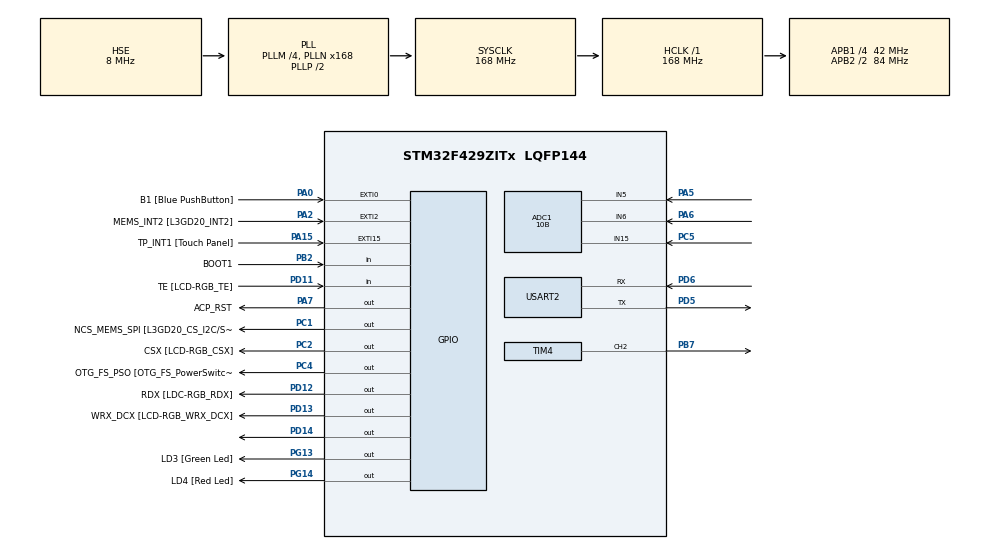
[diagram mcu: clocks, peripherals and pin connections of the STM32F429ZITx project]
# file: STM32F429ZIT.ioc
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ADC1.Channel-0\#ChannelRegularConversion=ADC_CHANNEL_15
ADC1.Channel-1\#ChannelRegularConversion=ADC_CHANNEL_6
ADC1.Channel-2\#ChannelRegularConversion=ADC_CHANNEL_5
ADC1.ClockPrescaler=ADC_CLOCK_SYNC_PCLK_DIV8
ADC1.ContinuousConvMode=ENABLE
ADC1.DMAContinuousRequests=ENABLE
ADC1.NbrOfConversion=3
ADC1.NbrOfConversionFlag=1
ADC1.Rank-0\#ChannelRegularConversion=1
ADC1.Rank-1\#ChannelRegularConversion=2
ADC1.Rank-2\#ChannelRegularConversion=3
ADC1.Resolution=ADC_RESOLUTION_10B
ADC1.SamplingTime-0\#ChannelRegularConversion=ADC_SAMPLETIME_84CYCLES
ADC1.SamplingTime-1\#ChannelRegularConversion=ADC_SAMPLETIME_84CYCLES
ADC1.SamplingTime-2\#ChannelRegularConversion=ADC_SAMPLETIME_84CYCLES
ADC1.ScanConvMode=ENABLE
ADC1.master=1
Dma.ADC1.0.Direction=DMA_PERIPH_TO_MEMORY
Dma.ADC1.0.FIFOMode=DMA_FIFOMODE_DISABLE
Dma.ADC1.0.Instance=DMA2_Stream0
Dma.ADC1.0.MemDataAlignment=DMA_MDATAALIGN_HALFWORD
Dma.ADC1.0.MemInc=DMA_MINC_ENABLE
Dma.ADC1.0.Mode=DMA_CIRCULAR
Dma.ADC1.0.PeriphDataAlignment=DMA_PDATAALIGN_HALFWORD
Dma.ADC1.0.PeriphInc=DMA_PINC_DISABLE
Dma.ADC1.0.Priority=DMA_PRIORITY_LOW
Dma.Request0=ADC1
Dma.Request1=TIM4_CH2
Dma.TIM4_CH2.1.Direction=DMA_MEMORY_TO_PERIPH
Dma.TIM4_CH2.1.FIFOMode=DMA_FIFOMODE_DISABLE
Dma.TIM4_CH2.1.Instance=DMA1_Stream3
Dma.TIM4_CH2.1.MemDataAlignment=DMA_MDATAALIGN_HALFWORD
Dma.TIM4_CH2.1.MemInc=DMA_MINC_ENABLE
Dma.TIM4_CH2.1.Mode=DMA_CIRCULAR
Dma.TIM4_CH2.1.PeriphDataAlignment=DMA_PDATAALIGN_HALFWORD
Dma.TIM4_CH2.1.PeriphInc=DMA_PINC_DISABLE
Dma.TIM4_CH2.1.Priority=DMA_PRIORITY_LOW
Mcu.Family=STM32F4
Mcu.Name=STM32F429ZITx
Mcu.Package=LQFP144
NVIC.DMA1_Stream3_IRQn=true\:0\:0\:false\:false\:true\:false\:true
NVIC.DMA2_Stream0_IRQn=true\:0\:0\:false\:false\:true\:false\:true
NVIC.PriorityGroup=NVIC_PRIORITYGROUP_0
NVIC.TIM1_UP_TIM10_IRQn=true\:0\:0\:false\:false\:true\:true\:true
NVIC.USART2_IRQn=true\:0\:0\:false\:false\:true\:true\:true
PA0/WKUP.GPIO_Label=B1 [Blue PushButton]
PA0/WKUP.GPIO_ModeDefaultEXTI=GPIO_MODE_EVT_RISING
PA0/WKUP.GPIO_PuPd=GPIO_NOPULL
PA0/WKUP.Signal=GPXTI0
PA10.GPIO_Label=STLINK_TX [STM32F103CBT6_PA2]
PA10.Signal=USART1_RX
PA11.GPIO_Label=R4
PA11.GPIO_Mode=GPIO_MODE_AF_PP
PA11.GPIO_PuPd=GPIO_NOPULL
PA11.GPIO_Speed=GPIO_SPEED_FREQ_LOW
PA11.Signal=LTDC_R4
PA12.GPIO_Label=R5
PA12.GPIO_Mode=GPIO_MODE_AF_PP
PA12.GPIO_PuPd=GPIO_NOPULL
PA12.GPIO_Speed=GPIO_SPEED_FREQ_LOW
PA12.Signal=LTDC_R5
PA13.GPIO_Label=SWDIO
PA13.Signal=SYS_JTMS-SWDIO
PA14.GPIO_Label=SWCLK
PA14.Signal=SYS_JTCK-SWCLK
PA15.GPIO_Label=TP_INT1 [Touch Panel]
PA15.GPIO_ModeDefaultEXTI=GPIO_MODE_EVT_RISING
PA15.GPIO_PuPd=GPIO_NOPULL
PA15.Signal=GPXTI15
PA2.GPIO_Label=MEMS_INT2 [L3GD20_INT2]
PA2.GPIO_ModeDefaultEXTI=GPIO_MODE_EVT_RISING
PA2.GPIO_PuPd=GPIO_NOPULL
PA2.Signal=GPXTI2
PA4.GPIO_Label=VSYNC
PA4.GPIO_Mode=GPIO_MODE_AF_PP
PA4.GPIO_PuPd=GPIO_NOPULL
PA4.GPIO_Speed=GPIO_SPEED_FREQ_LOW
PA4.Signal=LTDC_VSYNC
PA5.Signal=ADCx_IN5
PA6.Signal=ADCx_IN6
PA7.GPIO_Label=ACP_RST
PA7.GPIO_Mode=GPIO_MODE_OUTPUT_PP
PA7.GPIO_PuPd=GPIO_NOPULL
PA7.GPIO_Speed=GPIO_SPEED_FREQ_LOW
PA7.Signal=GPIO_Output
PA8.GPIO_Label=I2C3_SCL [ACP/RF_SCL]
PA8.GPIO_Mode=GPIO_MODE_AF_OD
PA8.GPIO_PuPd=GPIO_NOPULL
PA8.GPIO_Speed=GPIO_SPEED_FREQ_LOW
PA8.Signal=I2C3_SCL
PA9.GPIO_Label=STLINK_RX [STM32F103CBT6_PA3]
PA9.Signal=USART1_TX
PB10.GPIO_Label=G4
PB10.GPIO_Mode=GPIO_MODE_AF_PP
PB10.GPIO_PuPd=GPIO_NOPULL
PB10.GPIO_Speed=GPIO_SPEED_FREQ_LOW
PB10.Signal=LTDC_G4
PB11.GPIO_Label=G5
PB11.GPIO_Mode=GPIO_MODE_AF_PP
PB11.GPIO_PuPd=GPIO_NOPULL
PB11.GPIO_Speed=GPIO_SPEED_FREQ_LOW
PB11.Signal=LTDC_G5
PB12.GPIO_Label=OTG_HS_ID
PB12.GPIO_Mode=GPIO_MODE_AF_PP
PB12.GPIO_PuPd=GPIO_NOPULL
PB12.GPIO_Speed=GPIO_SPEED_FREQ_LOW
PB12.Signal=USB_OTG_HS_ID
PB13.GPIO_Label=VBUS_HS
PB13.GPIO_Mode=GPIO_MODE_INPUT
PB13.GPIO_PuPd=GPIO_NOPULL
PB13.Signal=USB_OTG_HS_VBUS
PB14.GPIO_Label=OTG_HS_DM
PB14.GPIO_Mode=GPIO_MODE_AF_PP
PB14.GPIO_PuPd=GPIO_NOPULL
PB14.GPIO_Speed=GPIO_SPEED_FREQ_LOW
PB14.Signal=USB_OTG_HS_DM
PB15.GPIO_Label=OTG_HS_DP
PB15.GPIO_Mode=GPIO_MODE_AF_PP
PB15.GPIO_PuPd=GPIO_NOPULL
PB15.GPIO_Speed=GPIO_SPEED_FREQ_LOW
PB15.Signal=USB_OTG_HS_DP
PB2/BOOT1.GPIO_Label=BOOT1
PB2/BOOT1.GPIO_Mode=GPIO_MODE_INPUT
PB2/BOOT1.GPIO_PuPd=GPIO_NOPULL
PB2/BOOT1.Signal=GPIO_Input
PB5.GPIO_Label=SDCKE1
PB5.GPIO_Mode=GPIO_MODE_AF_PP
PB5.GPIO_PuPd=GPIO_NOPULL
PB5.GPIO_Speed=GPIO_SPEED_FREQ_VERY_HIGH
PB5.Signal=FMC_SDCKE1
PB6.GPIO_Label=SDNE1 [SDRAM_CS]
PB6.GPIO_Mode=GPIO_MODE_AF_PP
PB6.GPIO_PuPd=GPIO_NOPULL
PB6.GPIO_Speed=GPIO_SPEED_FREQ_VERY_HIGH
PB6.Signal=FMC_SDNE1
PB7.Signal=S_TIM4_CH2
PB8.GPIO_Label=B6
PB8.GPIO_Mode=GPIO_MODE_AF_PP
PB8.GPIO_PuPd=GPIO_NOPULL
PB8.GPIO_Speed=GPIO_SPEED_FREQ_LOW
PB8.Signal=LTDC_B6
PB9.GPIO_Label=B7
PB9.GPIO_Mode=GPIO_MODE_AF_PP
PB9.GPIO_PuPd=GPIO_NOPULL
PB9.GPIO_Speed=GPIO_SPEED_FREQ_LOW
PB9.Signal=LTDC_B7
PC0.GPIO_Label=SDNWE
PC0.GPIO_Mode=GPIO_MODE_AF_PP
PC0.GPIO_PuPd=GPIO_NOPULL
PC0.GPIO_Speed=GPIO_SPEED_FREQ_VERY_HIGH
PC0.Signal=FMC_SDNWE
PC1.GPIO_Label=NCS_MEMS_SPI [L3GD20_CS_I2C/SPI]
PC1.GPIO_Mode=GPIO_MODE_OUTPUT_PP
PC1.GPIO_PuPd=GPIO_NOPULL
PC1.GPIO_Speed=GPIO_SPEED_FREQ_LOW
PC1.Signal=GPIO_Output
PC10.GPIO_Label=R2
PC10.GPIO_Mode=GPIO_MODE_AF_PP
PC10.GPIO_PuPd=GPIO_NOPULL
PC10.GPIO_Speed=GPIO_SPEED_FREQ_LOW
PC10.Signal=LTDC_R2
PC14/OSC32_IN.GPIO_Label=PC14-OSC32_IN
PC14/OSC32_IN.Mode=LSE-External-Oscillator
PC14/OSC32_IN.Signal=RCC_OSC32_IN
PC15/OSC32_OUT.GPIO_Label=PC15-OSC32_OUT
PC15/OSC32_OUT.Mode=LSE-External-Oscillator
PC15/OSC32_OUT.Signal=RCC_OSC32_OUT
PC2.GPIO_Label=CSX [LCD-RGB_CSX]
PC2.GPIO_Mode=GPIO_MODE_OUTPUT_PP
PC2.GPIO_PuPd=GPIO_NOPULL
PC2.GPIO_Speed=GPIO_SPEED_FREQ_LOW
PC2.Signal=GPIO_Output
PC4.GPIO_Label=OTG_FS_PSO [OTG_FS_PowerSwitchOn]
PC4.GPIO_Mode=GPIO_MODE_OUTPUT_PP
PC4.GPIO_PuPd=GPIO_NOPULL
PC4.GPIO_Speed=GPIO_SPEED_FREQ_LOW
PC4.Signal=GPIO_Output
PC5.Signal=ADCx_IN15
PC6.GPIO_Label=HSYNC
PC6.GPIO_Mode=GPIO_MODE_AF_PP
PC6.GPIO_PuPd=GPIO_NOPULL
PC6.GPIO_Speed=GPIO_SPEED_FREQ_LOW
PC6.Signal=LTDC_HSYNC
PC7.GPIO_Label=G6
PC7.GPIO_Mode=GPIO_MODE_AF_PP
PC7.GPIO_PuPd=GPIO_NOPULL
PC7.GPIO_Speed=GPIO_SPEED_FREQ_LOW
PC7.Signal=LTDC_G6
PC9.GPIO_Label=I2C3_SDA [ACP/RF_SDA]
PC9.GPIO_Mode=GPIO_MODE_AF_OD
PC9.GPIO_PuPd=GPIO_NOPULL
PC9.GPIO_Speed=GPIO_SPEED_FREQ_LOW
PC9.Signal=I2C3_SDA
PD0.GPIO_Label=D2
PD0.GPIO_Mode=GPIO_MODE_AF_PP
PD0.GPIO_PuPd=GPIO_NOPULL
PD0.GPIO_Speed=GPIO_SPEED_FREQ_VERY_HIGH
PD0.Signal=FMC_D2_DA2
PD1.GPIO_Label=D3
PD1.GPIO_Mode=GPIO_MODE_AF_PP
PD1.GPIO_PuPd=GPIO_NOPULL
PD1.GPIO_Speed=GPIO_SPEED_FREQ_VERY_HIGH
PD1.Signal=FMC_D3_DA3
PD10.GPIO_Label=D15
PD10.GPIO_Mode=GPIO_MODE_AF_PP
PD10.GPIO_PuPd=GPIO_NOPULL
PD10.GPIO_Speed=GPIO_SPEED_FREQ_VERY_HIGH
PD10.Signal=FMC_D15_DA15
PD11.GPIO_Label=TE [LCD-RGB_TE]
PD11.GPIO_Mode=GPIO_MODE_INPUT
PD11.GPIO_PuPd=GPIO_NOPULL
PD11.Signal=GPIO_Input
PD12.GPIO_Label=RDX [LDC-RGB_RDX]
PD12.GPIO_Mode=GPIO_MODE_OUTPUT_PP
PD12.GPIO_PuPd=GPIO_NOPULL
PD12.GPIO_Speed=GPIO_SPEED_FREQ_LOW
PD12.Signal=GPIO_Output
PD13.GPIO_Label=WRX_DCX [LCD-RGB_WRX_DCX]
PD13.GPIO_Mode=GPIO_MODE_OUTPUT_PP
PD13.GPIO_PuPd=GPIO_NOPULL
PD13.GPIO_Speed=GPIO_SPEED_FREQ_LOW
PD13.Signal=GPIO_Output
PD14.Signal=GPIO_Output
PD15.GPIO_Label=D1
PD15.GPIO_Mode=GPIO_MODE_AF_PP
PD15.GPIO_PuPd=GPIO_NOPULL
PD15.GPIO_Speed=GPIO_SPEED_FREQ_VERY_HIGH
PD15.Signal=FMC_D1_DA1
PD3.GPIO_Label=G7
PD3.GPIO_Mode=GPIO_MODE_AF_PP
PD3.GPIO_PuPd=GPIO_NOPULL
PD3.GPIO_Speed=GPIO_SPEED_FREQ_LOW
PD3.Signal=LTDC_G7
PD5.Mode=Asynchronous
PD5.Signal=USART2_TX
PD6.Mode=Asynchronous
PD6.Signal=USART2_RX
PD8.GPIO_Label=D13
PD8.GPIO_Mode=GPIO_MODE_AF_PP
PD8.GPIO_PuPd=GPIO_NOPULL
PD8.GPIO_Speed=GPIO_SPEED_FREQ_VERY_HIGH
PD8.Signal=FMC_D13_DA13
PD9.GPIO_Label=D14
PD9.GPIO_Mode=GPIO_MODE_AF_PP
PD9.GPIO_PuPd=GPIO_NOPULL
PD9.GPIO_Speed=GPIO_SPEED_FREQ_VERY_HIGH
PD9.Signal=FMC_D14_DA14
PE0.GPIO_Label=NBL0 [SDRAM_LDQM]
PE0.GPIO_Mode=GPIO_MODE_AF_PP
PE0.GPIO_PuPd=GPIO_NOPULL
PE0.GPIO_Speed=GPIO_SPEED_FREQ_VERY_HIGH
PE0.Signal=FMC_NBL0
PE1.GPIO_Label=NBL1 [SDRAM_UDQM]
PE1.GPIO_Mode=GPIO_MODE_AF_PP
PE1.GPIO_PuPd=GPIO_NOPULL
PE1.GPIO_Speed=GPIO_SPEED_FREQ_VERY_HIGH
PE1.Signal=FMC_NBL1
PE10.GPIO_Label=D7
PE10.GPIO_Mode=GPIO_MODE_AF_PP
PE10.GPIO_PuPd=GPIO_NOPULL
PE10.GPIO_Speed=GPIO_SPEED_FREQ_VERY_HIGH
PE10.Signal=FMC_D7_DA7
PE11.GPIO_Label=D8
PE11.GPIO_Mode=GPIO_MODE_AF_PP
PE11.GPIO_PuPd=GPIO_NOPULL
PE11.GPIO_Speed=GPIO_SPEED_FREQ_VERY_HIGH
PE11.Signal=FMC_D8_DA8
PE12.GPIO_Label=D9
PE12.GPIO_Mode=GPIO_MODE_AF_PP
PE12.GPIO_PuPd=GPIO_NOPULL
PE12.GPIO_Speed=GPIO_SPEED_FREQ_VERY_HIGH
PE12.Signal=FMC_D9_DA9
PE13.GPIO_Label=D10
PE13.GPIO_Mode=GPIO_MODE_AF_PP
PE13.GPIO_PuPd=GPIO_NOPULL
PE13.GPIO_Speed=GPIO_SPEED_FREQ_VERY_HIGH
PE13.Signal=FMC_D10_DA10
PE14.GPIO_Label=D11
PE14.GPIO_Mode=GPIO_MODE_AF_PP
PE14.GPIO_PuPd=GPIO_NOPULL
PE14.GPIO_Speed=GPIO_SPEED_FREQ_VERY_HIGH
PE14.Signal=FMC_D11_DA11
PE15.GPIO_Label=D12
PE15.GPIO_Mode=GPIO_MODE_AF_PP
PE15.GPIO_PuPd=GPIO_NOPULL
PE15.GPIO_Speed=GPIO_SPEED_FREQ_VERY_HIGH
PE15.Signal=FMC_D12_DA12
PE7.GPIO_Label=D4
PE7.GPIO_Mode=GPIO_MODE_AF_PP
PE7.GPIO_PuPd=GPIO_NOPULL
PE7.GPIO_Speed=GPIO_SPEED_FREQ_VERY_HIGH
PE7.Signal=FMC_D4_DA4
PE8.GPIO_Label=D5
PE8.GPIO_Mode=GPIO_MODE_AF_PP
PE8.GPIO_PuPd=GPIO_NOPULL
PE8.GPIO_Speed=GPIO_SPEED_FREQ_VERY_HIGH
PE8.Signal=FMC_D5_DA5
PE9.GPIO_Label=D6
PE9.GPIO_Mode=GPIO_MODE_AF_PP
PE9.GPIO_PuPd=GPIO_NOPULL
PE9.GPIO_Speed=GPIO_SPEED_FREQ_VERY_HIGH
PE9.Signal=FMC_D6_DA6
PF0.GPIO_Label=A0
PF0.GPIO_Mode=GPIO_MODE_AF_PP
PF0.GPIO_PuPd=GPIO_NOPULL
PF0.GPIO_Speed=GPIO_SPEED_FREQ_VERY_HIGH
PF0.Signal=FMC_A0
PF1.GPIO_Label=A1
PF1.GPIO_Mode=GPIO_MODE_AF_PP
PF1.GPIO_PuPd=GPIO_NOPULL
PF1.GPIO_Speed=GPIO_SPEED_FREQ_VERY_HIGH
PF1.Signal=FMC_A1
PF10.GPIO_Label=ENABLE [LCD-RGB_ENABLE]
PF10.GPIO_Mode=GPIO_MODE_AF_PP
PF10.GPIO_PuPd=GPIO_NOPULL
PF10.GPIO_Speed=GPIO_SPEED_FREQ_LOW
PF10.Signal=LTDC_DE
PF11.GPIO_Label=SDNRAS
PF11.GPIO_Mode=GPIO_MODE_AF_PP
PF11.GPIO_PuPd=GPIO_NOPULL
PF11.GPIO_Speed=GPIO_SPEED_FREQ_VERY_HIGH
PF11.Signal=FMC_SDNRAS
PF12.GPIO_Label=A6
PF12.GPIO_Mode=GPIO_MODE_AF_PP
PF12.GPIO_PuPd=GPIO_NOPULL
PF12.GPIO_Speed=GPIO_SPEED_FREQ_VERY_HIGH
PF12.Signal=FMC_A6
PF13.GPIO_Label=A7
PF13.GPIO_Mode=GPIO_MODE_AF_PP
PF13.GPIO_PuPd=GPIO_NOPULL
PF13.GPIO_Speed=GPIO_SPEED_FREQ_VERY_HIGH
PF13.Signal=FMC_A7
PF14.GPIO_Label=A8
PF14.GPIO_Mode=GPIO_MODE_AF_PP
PF14.GPIO_PuPd=GPIO_NOPULL
PF14.GPIO_Speed=GPIO_SPEED_FREQ_VERY_HIGH
PF14.Signal=FMC_A8
PF15.GPIO_Label=A9
PF15.GPIO_Mode=GPIO_MODE_AF_PP
PF15.GPIO_PuPd=GPIO_NOPULL
PF15.GPIO_Speed=GPIO_SPEED_FREQ_VERY_HIGH
PF15.Signal=FMC_A9
PF2.GPIO_Label=A2
PF2.GPIO_Mode=GPIO_MODE_AF_PP
PF2.GPIO_PuPd=GPIO_NOPULL
PF2.GPIO_Speed=GPIO_SPEED_FREQ_VERY_HIGH
PF2.Signal=FMC_A2
PF3.GPIO_Label=A3
PF3.GPIO_Mode=GPIO_MODE_AF_PP
PF3.GPIO_PuPd=GPIO_NOPULL
PF3.GPIO_Speed=GPIO_SPEED_FREQ_VERY_HIGH
PF3.Signal=FMC_A3
PF4.GPIO_Label=A4
PF4.GPIO_Mode=GPIO_MODE_AF_PP
PF4.GPIO_PuPd=GPIO_NOPULL
PF4.GPIO_Speed=GPIO_SPEED_FREQ_VERY_HIGH
PF4.Signal=FMC_A4
PF5.GPIO_Label=A5
PF5.GPIO_Mode=GPIO_MODE_AF_PP
PF5.GPIO_PuPd=GPIO_NOPULL
PF5.GPIO_Speed=GPIO_SPEED_FREQ_VERY_HIGH
PF5.Signal=FMC_A5
PF7.GPIO_Label=SPI5_SCK [L3GD20_SCL/SPC]
PF7.GPIO_Mode=GPIO_MODE_AF_PP
PF7.GPIO_PuPd=GPIO_NOPULL
PF7.GPIO_Speed=GPIO_SPEED_FREQ_LOW
PF7.Signal=SPI5_SCK
PF8.GPIO_Label=SPI5_MISO [L3GD20_SDO]
PF8.GPIO_Mode=GPIO_MODE_AF_PP
PF8.GPIO_PuPd=GPIO_NOPULL
PF8.GPIO_Speed=GPIO_SPEED_FREQ_LOW
PF8.Signal=SPI5_MISO
PF9.GPIO_Label=SPI5_MOSI [L3GD20_SDA/SDI/SDO]
PF9.GPIO_Mode=GPIO_MODE_AF_PP
PF9.GPIO_PuPd=GPIO_NOPULL
PF9.GPIO_Speed=GPIO_SPEED_FREQ_LOW
PF9.Signal=SPI5_MOSI
PG0.GPIO_Label=A10
PG0.GPIO_Mode=GPIO_MODE_AF_PP
PG0.GPIO_PuPd=GPIO_NOPULL
PG0.GPIO_Speed=GPIO_SPEED_FREQ_VERY_HIGH
PG0.Signal=FMC_A10
PG1.GPIO_Label=A11
PG1.GPIO_Mode=GPIO_MODE_AF_PP
PG1.GPIO_PuPd=GPIO_NOPULL
PG1.GPIO_Speed=GPIO_SPEED_FREQ_VERY_HIGH
PG1.Signal=FMC_A11
PG10.GPIO_Label=G3
PG10.GPIO_Mode=GPIO_MODE_AF_PP
PG10.GPIO_PuPd=GPIO_NOPULL
PG10.GPIO_Speed=GPIO_SPEED_FREQ_LOW
PG10.Signal=LTDC_G3
PG11.GPIO_Label=B3
PG11.GPIO_Mode=GPIO_MODE_AF_PP
PG11.GPIO_PuPd=GPIO_NOPULL
PG11.GPIO_Speed=GPIO_SPEED_FREQ_LOW
PG11.Signal=LTDC_B3
PG12.GPIO_Label=B4
PG12.GPIO_Mode=GPIO_MODE_AF_PP
PG12.GPIO_PuPd=GPIO_NOPULL
PG12.GPIO_Speed=GPIO_SPEED_FREQ_LOW
PG12.Signal=LTDC_B4
PG13.GPIO_Label=LD3 [Green Led]
PG13.GPIO_Mode=GPIO_MODE_OUTPUT_PP
PG13.GPIO_PuPd=GPIO_NOPULL
PG13.GPIO_Speed=GPIO_SPEED_FREQ_LOW
PG13.Signal=GPIO_Output
PG14.GPIO_Label=LD4 [Red Led]
PG14.GPIO_Mode=GPIO_MODE_OUTPUT_PP
PG14.GPIO_PuPd=GPIO_NOPULL
PG14.GPIO_Speed=GPIO_SPEED_FREQ_LOW
PG14.Signal=GPIO_Output
PG15.GPIO_Label=SDNCAS
PG15.GPIO_Mode=GPIO_MODE_AF_PP
PG15.GPIO_PuPd=GPIO_NOPULL
PG15.GPIO_Speed=GPIO_SPEED_FREQ_VERY_HIGH
PG15.Signal=FMC_SDNCAS
PG4.GPIO_Label=BA0
PG4.GPIO_Mode=GPIO_MODE_AF_PP
PG4.GPIO_PuPd=GPIO_NOPULL
PG4.GPIO_Speed=GPIO_SPEED_FREQ_VERY_HIGH
PG4.Signal=FMC_A14_BA0
PG5.GPIO_Label=BA1
PG5.GPIO_Mode=GPIO_MODE_AF_PP
PG5.GPIO_PuPd=GPIO_NOPULL
PG5.GPIO_Speed=GPIO_SPEED_FREQ_VERY_HIGH
PG5.Signal=FMC_A15_BA1
PG6.GPIO_Label=R7
PG6.GPIO_Mode=GPIO_MODE_AF_PP
PG6.GPIO_PuPd=GPIO_NOPULL
PG6.GPIO_Speed=GPIO_SPEED_FREQ_LOW
PG6.Signal=LTDC_R7
PG7.GPIO_Label=DOTCLK [LCT-RGB_DOTCLK]
PG7.GPIO_Mode=GPIO_MODE_AF_PP
PG7.GPIO_PuPd=GPIO_NOPULL
PG7.GPIO_Speed=GPIO_SPEED_FREQ_LOW
PG7.Signal=LTDC_CLK
PG8.GPIO_Label=SDCLK
PG8.GPIO_Mode=GPIO_MODE_AF_PP
PG8.GPIO_PuPd=GPIO_NOPULL
PG8.GPIO_Speed=GPIO_SPEED_FREQ_VERY_HIGH
PG8.Signal=FMC_SDCLK
PH0/OSC_IN.GPIO_Label=PH0-OSC_IN
PH0/OSC_IN.Mode=HSE-External-Oscillator
PH0/OSC_IN.Signal=RCC_OSC_IN
PH1/OSC_OUT.GPIO_Label=PH1-OSC_OUT
PH1/OSC_OUT.Mode=HSE-External-Oscillator
PH1/OSC_OUT.Signal=RCC_OSC_OUT
ProjectManager.HeapSize=0x200
ProjectManager.StackSize=0x400
ProjectManager.TargetToolchain=STM32CubeIDE
RCC.48MHZClocksFreq_Value=48000000
RCC.AHBFreq_Value=168000000
RCC.APB1CLKDivider=RCC_HCLK_DIV4
RCC.APB1Freq_Value=42000000
RCC.APB1TimFreq_Value=84000000
RCC.APB2CLKDivider=RCC_HCLK_DIV2
RCC.APB2Freq_Value=84000000
RCC.APB2TimFreq_Value=168000000
RCC.CortexFreq_Value=168000000
RCC.HCLKFreq_Value=168000000
RCC.HSE_VALUE=8000000
RCC.HSI_VALUE=16000000
RCC.PLLM=4
RCC.PLLN=168
RCC.PLLQ=7
RCC.PLLSourceVirtual=RCC_PLLSOURCE_HSE
RCC.SYSCLKFreq_VALUE=168000000
RCC.SYSCLKSource=RCC_SYSCLKSOURCE_PLLCLK
RCC.VCOOutputFreq_Value=336000000
SH.ADCx_IN15.0=ADC1_IN15,IN15
SH.ADCx_IN5.0=ADC1_IN5,IN5
SH.ADCx_IN6.0=ADC1_IN6,IN6
SH.FMC_A0.0=FMC_A0
SH.FMC_A1.0=FMC_A1
SH.FMC_A10.0=FMC_A10
SH.FMC_A11.0=FMC_A11
SH.FMC_A14_BA0.0=FMC_BA0
SH.FMC_A15_BA1.0=FMC_BA1
SH.FMC_A2.0=FMC_A2
SH.FMC_A3.0=FMC_A3
SH.FMC_A4.0=FMC_A4
SH.FMC_A5.0=FMC_A5
SH.FMC_A6.0=FMC_A6
SH.FMC_A7.0=FMC_A7
SH.FMC_A8.0=FMC_A8
SH.FMC_A9.0=FMC_A9
SH.FMC_D10_DA10.0=FMC_D10
SH.FMC_D11_DA11.0=FMC_D11
SH.FMC_D12_DA12.0=FMC_D12
SH.FMC_D13_DA13.0=FMC_D13
SH.FMC_D14_DA14.0=FMC_D14
SH.FMC_D15_DA15.0=FMC_D15
SH.FMC_D1_DA1.0=FMC_D1
SH.FMC_D2_DA2.0=FMC_D2
SH.FMC_D3_DA3.0=FMC_D3
SH.FMC_D4_DA4.0=FMC_D4
SH.FMC_D5_DA5.0=FMC_D5
SH.FMC_D6_DA6.0=FMC_D6
SH.FMC_D7_DA7.0=FMC_D7
SH.FMC_D8_DA8.0=FMC_D8
SH.FMC_D9_DA9.0=FMC_D9
SH.FMC_NBL0.0=FMC_NBL0
SH.FMC_NBL1.0=FMC_NBL1
SH.FMC_SDCLK.0=FMC_SDCLK
SH.FMC_SDNCAS.0=FMC_SDNCAS
SH.FMC_SDNRAS.0=FMC_SDNRAS
SH.FMC_SDNWE.0=FMC_SDNWE
SH.S_TIM4_CH2.0=TIM4_CH2,PWM Generation2 CH2
TIM10.AutoReloadPreload=TIM_AUTORELOAD_PRELOAD_ENABLE
TIM10.ClockDivision=TIM_CLOCKDIVISION_DIV4
TIM10.Period=33599
TIM10.Prescaler=4999
TIM4.Channel-PWM\ Generation2\ CH2=TIM_CHANNEL_2
TIM4.Period=99
TIM4.Prescaler=16799
USART2.VirtualMode=VM_ASYNC
VP_TIM10_VS_ClockSourceINT.Mode=Enable_Timer
VP_TIM4_VS_ClockSourceINT.Mode=Internal
board=STM32F429I-DISC1

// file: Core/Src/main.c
/* USER CODE BEGIN Header */
/**
  ******************************************************************************
  * @file           : main.c
  * @brief          : Main program body
  ******************************************************************************
  * @attention
  *
  * <h2><center>&copy; Copyright (c) 2021 STMicroelectronics.
  * All rights reserved.</center></h2>
  *
  * This software component is licensed by ST under BSD 3-Clause license,
  * the "License"; You may not use this file except in compliance with the
  * License. You may obtain a copy of the License at:
  *                        opensource.org/licenses/BSD-3-Clause
  *
  ******************************************************************************
  */
/* USER CODE END Header */
#include "main.h"

/* USER CODE BEGIN Includes */
#include <stdbool.h>
#include <stdlib.h>
/* USER CODE END Includes */

/* USER CODE BEGIN PD */
#define AUTOMATIC 0
#define MANUAL 1
/* USER CODE END PD */

ADC_HandleTypeDef hadc1;
DMA_HandleTypeDef hdma_adc1;

TIM_HandleTypeDef htim4;
TIM_HandleTypeDef htim10;
DMA_HandleTypeDef hdma_tim4_ch2;

UART_HandleTypeDef huart2;

/* USER CODE BEGIN PV */
//Callbacks flags
volatile bool data_ready_to_send = false;
volatile bool is_data_received = false;

//ADC data
uint16_t adc_data[3];
static uint16_t battery=0;
static uint16_t balance_level=0;
static uint16_t charging=0;

//servo position
uint8_t mode =  AUTOMATIC; //servo mode
static uint16_t servo=0;  //servo position
uint8_t Duty=0; //PWM duty - servo position

//USART data
volatile uint8_t received_data = 0; //data received from ESP
uint8_t data_to_transmit[100]; //data transmitted to ESP
uint16_t size = 0; //size of transmitted data
/* USER CODE END PV */

void SystemClock_Config(void);
static void MX_GPIO_Init(void);
static void MX_DMA_Init(void);
static void MX_ADC1_Init(void);
static void MX_TIM4_Init(void);
static void MX_TIM10_Init(void);
static void MX_USART2_UART_Init(void);
/* USER CODE BEGIN PFP */
void HAL_TIM_PeriodElapsedCallback(TIM_HandleTypeDef *htim) {
	data_ready_to_send = true; //TIM10 interrupt flag
}
void HAL_UART_RxCpltCallback(UART_HandleTypeDef *huart)
{
	is_data_received = true;
	received_data  = (uint16_t)(huart->Instance->DR & (uint16_t)0x01FF);
}
//-----------------------------------------------------------------------
void watchdog_init(void){
	RCC->CSR |= RCC_CSR_LSION; //enable LSI required for watchdog
	while((RCC->CSR & RCC_CSR_LSIRDY) == 0)//checking whether LSI is on
	{ ; }

	IWDG->KR = 0x5555;// enabling access to the IWDG_PR and IWDG_RLR registers
	IWDG->PR = 4;//set prescaler
	IWDG->RLR = 0x7d0;//counter value
	IWDG->KR = 0xaaaa;//counter reset
	IWDG->KR = 0xcccc;//turn watchdog on
	__DSB();//waiting for completed memory access
}
void watchdog_clear(void){
	  IWDG->KR = 0xaaaa;//counter reset
}
void transmit_data(void){
	if(data_ready_to_send == true)//if TIM10 interrupt, transmit data via USART
	{

		battery = adc_data[0];
		balance_level = adc_data[1];
		charging = adc_data[2];

		HAL_GPIO_TogglePin(GPIOG, GPIO_PIN_14);//RED led informs that data is transmitted

		size = sprintf(data_to_transmit, "p%db%dl%ds%d\n", charging, battery, balance_level, servo);
		HAL_UART_Transmit_IT(&huart2, data_to_transmit, size);
		data_ready_to_send = false;
	}
}
void process_received_data(void){
	if(is_data_received == true){//if UART data availbe - set servo according to it and transmit feedback message

		//if data received - turn on LED_Green for half of second
		HAL_GPIO_WritePin(GPIOG, GPIO_PIN_13, GPIO_PIN_SET);
		HAL_Delay(500);
		HAL_GPIO_WritePin(GPIOG, GPIO_PIN_13, GPIO_PIN_RESET);

		servo=atoi(&received_data);

		size = sprintf(data_to_transmit, "p%db%dl%ds%d\n", charging,battery, balance_level, servo); //feedback with updated data
		HAL_UART_Transmit_IT(&huart2, data_to_transmit, size);
		is_data_received = false;
	}
}
void determine_mode(void){
	if(servo>=1 && servo<=8)
	{
		mode = MANUAL;
	}
	else{
		mode = AUTOMATIC;
	}
}
void automatic_servo_positioning(void){
	const uint16_t neutral_pos = 512;

	if(abs(adc_data[1] - neutral_pos) > 25 && data_ready_to_send == true)
	{
		if(adc_data[1] - neutral_pos > 0)
		{
			if(Duty < 11) Duty += 1;
		}
		else{
			if(Duty > 4) Duty -= 1;
		}
	}
}
void process_servo(void){

	process_received_data();
	determine_mode();

	switch(mode){
	case MANUAL:
		Duty = (servo + 3);
		break;
	case AUTOMATIC:
		automatic_servo_positioning();
		break;
	}
}

/* USER CODE END PFP */

int main(void)
{

  /* MCU Configuration--------------------------------------------------------*/

  /* Reset of all peripherals, Initializes the Flash interface and the Systick. */
  HAL_Init();

  /* Configure the system clock */
  SystemClock_Config();

  /* Initialize all configured peripherals */
  MX_GPIO_Init();
  MX_DMA_Init();
  MX_ADC1_Init();
  MX_TIM4_Init();
  MX_TIM10_Init();
  MX_USART2_UART_Init();
  /* USER CODE BEGIN 2 */
  HAL_TIM_Base_Start_IT(&htim10);
  HAL_ADC_Start_DMA(&hadc1, adc_data, 3);
  HAL_TIM_PWM_Start_DMA(&htim4,TIM_CHANNEL_2, &Duty, 1);
  watchdog_init();
  Duty=8;
  /*
   HOT-FIX explanation
   HAL_UART_RxCpltCallback function is being executed if UART data frame is received, but does not
   store that frame, so "received_data  = (uint16_t)(huart->Instance->DR & (uint16_t)0x01FF);" stores
   that first frame. Without it, it would be neccesary to send two identical frames in which first one makes
   the function execution, and the second one is being received by "HAL_UART_Receive_IT" later in the code.
   But for unknown reasons it still needs "HAL_UART_Receive_IT" later in the code to work as we wanted.
   So for now we added this hot-fix "HAL_UART_Receive_IT" function which in theoretically does not affect
   any valuable data.
   */
   uint8_t tmp = 0; //HOT-FIX
  /* USER CODE END 2 */

  /* Infinite loop */
  /* USER CODE BEGIN WHILE */
  while (1)
  {
	  HAL_UART_Receive_IT(&huart2, &tmp, 1); //HOT-FIX

	  transmit_data();
	  process_servo();
	  watchdog_clear();
    /* USER CODE END WHILE */

  }
}

void SystemClock_Config(void)
{
  RCC_OscInitTypeDef RCC_OscInitStruct = {0};
  RCC_ClkInitTypeDef RCC_ClkInitStruct = {0};

  /** Configure the main internal regulator output voltage
  */
  __HAL_RCC_PWR_CLK_ENABLE();
  __HAL_PWR_VOLTAGESCALING_CONFIG(PWR_REGULATOR_VOLTAGE_SCALE1);
  /** Initializes the RCC Oscillators according to the specified parameters
  * in the RCC_OscInitTypeDef structure.
  */
  RCC_OscInitStruct.OscillatorType = RCC_OSCILLATORTYPE_HSE;
  RCC_OscInitStruct.HSEState = RCC_HSE_ON;
  RCC_OscInitStruct.PLL.PLLState = RCC_PLL_ON;
  RCC_OscInitStruct.PLL.PLLSource = RCC_PLLSOURCE_HSE;
  RCC_OscInitStruct.PLL.PLLM = 4;
  RCC_OscInitStruct.PLL.PLLN = 168;
  RCC_OscInitStruct.PLL.PLLP = RCC_PLLP_DIV2;
  RCC_OscInitStruct.PLL.PLLQ = 7;
  if (HAL_RCC_OscConfig(&RCC_OscInitStruct) != HAL_OK)
  {
    Error_Handler();
  }
  /** Initializes the CPU, AHB and APB buses clocks
  */
  RCC_ClkInitStruct.ClockType = RCC_CLOCKTYPE_HCLK|RCC_CLOCKTYPE_SYSCLK
                              |RCC_CLOCKTYPE_PCLK1|RCC_CLOCKTYPE_PCLK2;
  RCC_ClkInitStruct.SYSCLKSource = RCC_SYSCLKSOURCE_PLLCLK;
  RCC_ClkInitStruct.AHBCLKDivider = RCC_SYSCLK_DIV1;
  RCC_ClkInitStruct.APB1CLKDivider = RCC_HCLK_DIV4;
  RCC_ClkInitStruct.APB2CLKDivider = RCC_HCLK_DIV2;

  if (HAL_RCC_ClockConfig(&RCC_ClkInitStruct, FLASH_LATENCY_5) != HAL_OK)
  {
    Error_Handler();
  }
}

static void MX_ADC1_Init(void)
{

  ADC_ChannelConfTypeDef sConfig = {0};

  /** Configure the global features of the ADC (Clock, Resolution, Data Alignment and number of conversion)
  */
  hadc1.Instance = ADC1;
  hadc1.Init.ClockPrescaler = ADC_CLOCK_SYNC_PCLK_DIV8;
  hadc1.Init.Resolution = ADC_RESOLUTION_10B;
  hadc1.Init.ScanConvMode = ENABLE;
  hadc1.Init.ContinuousConvMode = ENABLE;
  hadc1.Init.DiscontinuousConvMode = DISABLE;
  hadc1.Init.ExternalTrigConvEdge = ADC_EXTERNALTRIGCONVEDGE_NONE;
  hadc1.Init.ExternalTrigConv = ADC_SOFTWARE_START;
  hadc1.Init.DataAlign = ADC_DATAALIGN_RIGHT;
  hadc1.Init.NbrOfConversion = 3;
  hadc1.Init.DMAContinuousRequests = ENABLE;
  hadc1.Init.EOCSelection = ADC_EOC_SINGLE_CONV;
  if (HAL_ADC_Init(&hadc1) != HAL_OK)
  {
    Error_Handler();
  }
  /** Configure for the selected ADC regular channel its corresponding rank in the sequencer and its sample time.
  */
  sConfig.Channel = ADC_CHANNEL_15;
  sConfig.Rank = 1;
  sConfig.SamplingTime = ADC_SAMPLETIME_84CYCLES;
  if (HAL_ADC_ConfigChannel(&hadc1, &sConfig) != HAL_OK)
  {
    Error_Handler();
  }
  /** Configure for the selected ADC regular channel its corresponding rank in the sequencer and its sample time.
  */
  sConfig.Channel = ADC_CHANNEL_6;
  sConfig.Rank = 2;
  if (HAL_ADC_ConfigChannel(&hadc1, &sConfig) != HAL_OK)
  {
    Error_Handler();
  }
  /** Configure for the selected ADC regular channel its corresponding rank in the sequencer and its sample time.
  */
  sConfig.Channel = ADC_CHANNEL_5;
  sConfig.Rank = 3;
  if (HAL_ADC_ConfigChannel(&hadc1, &sConfig) != HAL_OK)
  {
    Error_Handler();
  }

}

static void MX_TIM4_Init(void)
{

  TIM_ClockConfigTypeDef sClockSourceConfig = {0};
  TIM_MasterConfigTypeDef sMasterConfig = {0};
  TIM_OC_InitTypeDef sConfigOC = {0};

  htim4.Instance = TIM4;
  htim4.Init.Prescaler = 16799;
  htim4.Init.CounterMode = TIM_COUNTERMODE_UP;
  htim4.Init.Period = 99;
  htim4.Init.ClockDivision = TIM_CLOCKDIVISION_DIV1;
  htim4.Init.AutoReloadPreload = TIM_AUTORELOAD_PRELOAD_DISABLE;
  if (HAL_TIM_Base_Init(&htim4) != HAL_OK)
  {
    Error_Handler();
  }
  sClockSourceConfig.ClockSource = TIM_CLOCKSOURCE_INTERNAL;
  if (HAL_TIM_ConfigClockSource(&htim4, &sClockSourceConfig) != HAL_OK)
  {
    Error_Handler();
  }
  if (HAL_TIM_PWM_Init(&htim4) != HAL_OK)
  {
    Error_Handler();
  }
  sMasterConfig.MasterOutputTrigger = TIM_TRGO_RESET;
  sMasterConfig.MasterSlaveMode = TIM_MASTERSLAVEMODE_DISABLE;
  if (HAL_TIMEx_MasterConfigSynchronization(&htim4, &sMasterConfig) != HAL_OK)
  {
    Error_Handler();
  }
  sConfigOC.OCMode = TIM_OCMODE_PWM1;
  sConfigOC.Pulse = 0;
  sConfigOC.OCPolarity = TIM_OCPOLARITY_HIGH;
  sConfigOC.OCFastMode = TIM_OCFAST_DISABLE;
  if (HAL_TIM_PWM_ConfigChannel(&htim4, &sConfigOC, TIM_CHANNEL_2) != HAL_OK)
  {
    Error_Handler();
  }
  HAL_TIM_MspPostInit(&htim4);

}

static void MX_TIM10_Init(void)
{

  htim10.Instance = TIM10;
  htim10.Init.Prescaler = 4999;
  htim10.Init.CounterMode = TIM_COUNTERMODE_UP;
  htim10.Init.Period = 33599;
  htim10.Init.ClockDivision = TIM_CLOCKDIVISION_DIV4;
  htim10.Init.AutoReloadPreload = TIM_AUTORELOAD_PRELOAD_ENABLE;
  if (HAL_TIM_Base_Init(&htim10) != HAL_OK)
  {
    Error_Handler();
  }

}

static void MX_USART2_UART_Init(void)
{

  huart2.Instance = USART2;
  huart2.Init.BaudRate = 115200;
  huart2.Init.WordLength = UART_WORDLENGTH_8B;
  huart2.Init.StopBits = UART_STOPBITS_1;
  huart2.Init.Parity = UART_PARITY_NONE;
  huart2.Init.Mode = UART_MODE_TX_RX;
  huart2.Init.HwFlowCtl = UART_HWCONTROL_NONE;
  huart2.Init.OverSampling = UART_OVERSAMPLING_16;
  if (HAL_UART_Init(&huart2) != HAL_OK)
  {
    Error_Handler();
  }

}

static void MX_DMA_Init(void)
{

  /* DMA controller clock enable */
  __HAL_RCC_DMA2_CLK_ENABLE();
  __HAL_RCC_DMA1_CLK_ENABLE();

  /* DMA interrupt init */
  /* DMA1_Stream3_IRQn interrupt configuration */
  HAL_NVIC_SetPriority(DMA1_Stream3_IRQn, 0, 0);
  HAL_NVIC_EnableIRQ(DMA1_Stream3_IRQn);
  /* DMA2_Stream0_IRQn interrupt configuration */
  HAL_NVIC_SetPriority(DMA2_Stream0_IRQn, 0, 0);
  HAL_NVIC_EnableIRQ(DMA2_Stream0_IRQn);

}

static void MX_GPIO_Init(void)
{
  GPIO_InitTypeDef GPIO_InitStruct = {0};

  /* GPIO Ports Clock Enable */
  __HAL_RCC_GPIOC_CLK_ENABLE();
  __HAL_RCC_GPIOF_CLK_ENABLE();
  __HAL_RCC_GPIOH_CLK_ENABLE();
  __HAL_RCC_GPIOA_CLK_ENABLE();
  __HAL_RCC_GPIOB_CLK_ENABLE();
  __HAL_RCC_GPIOG_CLK_ENABLE();
  __HAL_RCC_GPIOE_CLK_ENABLE();
  __HAL_RCC_GPIOD_CLK_ENABLE();

  /*Configure GPIO pin Output Level */
  HAL_GPIO_WritePin(GPIOC, NCS_MEMS_SPI_Pin|CSX_Pin|OTG_FS_PSO_Pin, GPIO_PIN_RESET);

  /*Configure GPIO pin Output Level */
  HAL_GPIO_WritePin(ACP_RST_GPIO_Port, ACP_RST_Pin, GPIO_PIN_RESET);

  /*Configure GPIO pin Output Level */
  HAL_GPIO_WritePin(GPIOD, RDX_Pin|WRX_DCX_Pin|GPIO_PIN_14, GPIO_PIN_RESET);

  /*Configure GPIO pin Output Level */
  HAL_GPIO_WritePin(GPIOG, LD3_Pin|LD4_Pin, GPIO_PIN_RESET);

  /*Configure GPIO pins : A0_Pin A1_Pin A2_Pin A3_Pin
                           A4_Pin A5_Pin SDNRAS_Pin A6_Pin
                           A7_Pin A8_Pin A9_Pin */
  GPIO_InitStruct.Pin = A0_Pin|A1_Pin|A2_Pin|A3_Pin
                          |A4_Pin|A5_Pin|SDNRAS_Pin|A6_Pin
                          |A7_Pin|A8_Pin|A9_Pin;
  GPIO_InitStruct.Mode = GPIO_MODE_AF_PP;
  GPIO_InitStruct.Pull = GPIO_NOPULL;
  GPIO_InitStruct.Speed = GPIO_SPEED_FREQ_VERY_HIGH;
  GPIO_InitStruct.Alternate = GPIO_AF12_FMC;
  HAL_GPIO_Init(GPIOF, &GPIO_InitStruct);

  /*Configure GPIO pins : SPI5_SCK_Pin SPI5_MISO_Pin SPI5_MOSI_Pin */
  GPIO_InitStruct.Pin = SPI5_SCK_Pin|SPI5_MISO_Pin|SPI5_MOSI_Pin;
  GPIO_InitStruct.Mode = GPIO_MODE_AF_PP;
  GPIO_InitStruct.Pull = GPIO_NOPULL;
  GPIO_InitStruct.Speed = GPIO_SPEED_FREQ_LOW;
  GPIO_InitStruct.Alternate = GPIO_AF5_SPI5;
  HAL_GPIO_Init(GPIOF, &GPIO_InitStruct);

  /*Configure GPIO pin : ENABLE_Pin */
  GPIO_InitStruct.Pin = ENABLE_Pin;
  GPIO_InitStruct.Mode = GPIO_MODE_AF_PP;
  GPIO_InitStruct.Pull = GPIO_NOPULL;
  GPIO_InitStruct.Speed = GPIO_SPEED_FREQ_LOW;
  GPIO_InitStruct.Alternate = GPIO_AF14_LTDC;
  HAL_GPIO_Init(ENABLE_GPIO_Port, &GPIO_InitStruct);

  /*Configure GPIO pin : SDNWE_Pin */
  GPIO_InitStruct.Pin = SDNWE_Pin;
  GPIO_InitStruct.Mode = GPIO_MODE_AF_PP;
  GPIO_InitStruct.Pull = GPIO_NOPULL;
  GPIO_InitStruct.Speed = GPIO_SPEED_FREQ_VERY_HIGH;
  GPIO_InitStruct.Alternate = GPIO_AF12_FMC;
  HAL_GPIO_Init(SDNWE_GPIO_Port, &GPIO_InitStruct);

  /*Configure GPIO pins : NCS_MEMS_SPI_Pin CSX_Pin OTG_FS_PSO_Pin */
  GPIO_InitStruct.Pin = NCS_MEMS_SPI_Pin|CSX_Pin|OTG_FS_PSO_Pin;
  GPIO_InitStruct.Mode = GPIO_MODE_OUTPUT_PP;
  GPIO_InitStruct.Pull = GPIO_NOPULL;
  GPIO_InitStruct.Speed = GPIO_SPEED_FREQ_LOW;
  HAL_GPIO_Init(GPIOC, &GPIO_InitStruct);

  /*Configure GPIO pins : B1_Pin MEMS_INT2_Pin TP_INT1_Pin */
  GPIO_InitStruct.Pin = B1_Pin|MEMS_INT2_Pin|TP_INT1_Pin;
  GPIO_InitStruct.Mode = GPIO_MODE_EVT_RISING;
  GPIO_InitStruct.Pull = GPIO_NOPULL;
  HAL_GPIO_Init(GPIOA, &GPIO_InitStruct);

  /*Configure GPIO pins : VSYNC_Pin R4_Pin R5_Pin */
  GPIO_InitStruct.Pin = VSYNC_Pin|R4_Pin|R5_Pin;
  GPIO_InitStruct.Mode = GPIO_MODE_AF_PP;
  GPIO_InitStruct.Pull = GPIO_NOPULL;
  GPIO_InitStruct.Speed = GPIO_SPEED_FREQ_LOW;
  GPIO_InitStruct.Alternate = GPIO_AF14_LTDC;
  HAL_GPIO_Init(GPIOA, &GPIO_InitStruct);

  /*Configure GPIO pin : ACP_RST_Pin */
  GPIO_InitStruct.Pin = ACP_RST_Pin;
  GPIO_InitStruct.Mode = GPIO_MODE_OUTPUT_PP;
  GPIO_InitStruct.Pull = GPIO_NOPULL;
  GPIO_InitStruct.Speed = GPIO_SPEED_FREQ_LOW;
  HAL_GPIO_Init(ACP_RST_GPIO_Port, &GPIO_InitStruct);

  /*Configure GPIO pin : BOOT1_Pin */
  GPIO_InitStruct.Pin = BOOT1_Pin;
  GPIO_InitStruct.Mode = GPIO_MODE_INPUT;
  GPIO_InitStruct.Pull = GPIO_NOPULL;
  HAL_GPIO_Init(BOOT1_GPIO_Port, &GPIO_InitStruct);

  /*Configure GPIO pins : A10_Pin A11_Pin BA0_Pin BA1_Pin
                           SDCLK_Pin SDNCAS_Pin */
  GPIO_InitStruct.Pin = A10_Pin|A11_Pin|BA0_Pin|BA1_Pin
                          |SDCLK_Pin|SDNCAS_Pin;
  GPIO_InitStruct.Mode = GPIO_MODE_AF_PP;
  GPIO_InitStruct.Pull = GPIO_NOPULL;
  GPIO_InitStruct.Speed = GPIO_SPEED_FREQ_VERY_HIGH;
  GPIO_InitStruct.Alternate = GPIO_AF12_FMC;
  HAL_GPIO_Init(GPIOG, &GPIO_InitStruct);

  /*Configure GPIO pins : D4_Pin D5_Pin D6_Pin D7_Pin
                           D8_Pin D9_Pin D10_Pin D11_Pin
                           D12_Pin NBL0_Pin NBL1_Pin */
  GPIO_InitStruct.Pin = D4_Pin|D5_Pin|D6_Pin|D7_Pin
                          |D8_Pin|D9_Pin|D10_Pin|D11_Pin
                          |D12_Pin|NBL0_Pin|NBL1_Pin;
  GPIO_InitStruct.Mode = GPIO_MODE_AF_PP;
  GPIO_InitStruct.Pull = GPIO_NOPULL;
  GPIO_InitStruct.Speed = GPIO_SPEED_FREQ_VERY_HIGH;
  GPIO_InitStruct.Alternate = GPIO_AF12_FMC;
  HAL_GPIO_Init(GPIOE, &GPIO_InitStruct);

  /*Configure GPIO pins : G4_Pin G5_Pin B6_Pin B7_Pin */
  GPIO_InitStruct.Pin = G4_Pin|G5_Pin|B6_Pin|B7_Pin;
  GPIO_InitStruct.Mode = GPIO_MODE_AF_PP;
  GPIO_InitStruct.Pull = GPIO_NOPULL;
  GPIO_InitStruct.Speed = GPIO_SPEED_FREQ_LOW;
  GPIO_InitStruct.Alternate = GPIO_AF14_LTDC;
  HAL_GPIO_Init(GPIOB, &GPIO_InitStruct);

  /*Configure GPIO pins : OTG_HS_ID_Pin OTG_HS_DM_Pin OTG_HS_DP_Pin */
  GPIO_InitStruct.Pin = OTG_HS_ID_Pin|OTG_HS_DM_Pin|OTG_HS_DP_Pin;
  GPIO_InitStruct.Mode = GPIO_MODE_AF_PP;
  GPIO_InitStruct.Pull = GPIO_NOPULL;
  GPIO_InitStruct.Speed = GPIO_SPEED_FREQ_LOW;
  GPIO_InitStruct.Alternate = GPIO_AF12_OTG_HS_FS;
  HAL_GPIO_Init(GPIOB, &GPIO_InitStruct);

  /*Configure GPIO pin : VBUS_HS_Pin */
  GPIO_InitStruct.Pin = VBUS_HS_Pin;
  GPIO_InitStruct.Mode = GPIO_MODE_INPUT;
  GPIO_InitStruct.Pull = GPIO_NOPULL;
  HAL_GPIO_Init(VBUS_HS_GPIO_Port, &GPIO_InitStruct);

  /*Configure GPIO pins : D13_Pin D14_Pin D15_Pin D1_Pin
                           D2_Pin D3_Pin */
  GPIO_InitStruct.Pin = D13_Pin|D14_Pin|D15_Pin|D1_Pin
                          |D2_Pin|D3_Pin;
  GPIO_InitStruct.Mode = GPIO_MODE_AF_PP;
  GPIO_InitStruct.Pull = GPIO_NOPULL;
  GPIO_InitStruct.Speed = GPIO_SPEED_FREQ_VERY_HIGH;
  GPIO_InitStruct.Alternate = GPIO_AF12_FMC;
  HAL_GPIO_Init(GPIOD, &GPIO_InitStruct);

  /*Configure GPIO pin : TE_Pin */
  GPIO_InitStruct.Pin = TE_Pin;
  GPIO_InitStruct.Mode = GPIO_MODE_INPUT;
  GPIO_InitStruct.Pull = GPIO_NOPULL;
  HAL_GPIO_Init(TE_GPIO_Port, &GPIO_InitStruct);

  /*Configure GPIO pins : RDX_Pin WRX_DCX_Pin PD14 */
  GPIO_InitStruct.Pin = RDX_Pin|WRX_DCX_Pin|GPIO_PIN_14;
  GPIO_InitStruct.Mode = GPIO_MODE_OUTPUT_PP;
  GPIO_InitStruct.Pull = GPIO_NOPULL;
  GPIO_InitStruct.Speed = GPIO_SPEED_FREQ_LOW;
  HAL_GPIO_Init(GPIOD, &GPIO_InitStruct);

  /*Configure GPIO pins : R7_Pin DOTCLK_Pin B3_Pin */
  GPIO_InitStruct.Pin = R7_Pin|DOTCLK_Pin|B3_Pin;
  GPIO_InitStruct.Mode = GPIO_MODE_AF_PP;
  GPIO_InitStruct.Pull = GPIO_NOPULL;
  GPIO_InitStruct.Speed = GPIO_SPEED_FREQ_LOW;
  GPIO_InitStruct.Alternate = GPIO_AF14_LTDC;
  HAL_GPIO_Init(GPIOG, &GPIO_InitStruct);

  /*Configure GPIO pins : HSYNC_Pin G6_Pin R2_Pin */
  GPIO_InitStruct.Pin = HSYNC_Pin|G6_Pin|R2_Pin;
  GPIO_InitStruct.Mode = GPIO_MODE_AF_PP;
  GPIO_InitStruct.Pull = GPIO_NOPULL;
  GPIO_InitStruct.Speed = GPIO_SPEED_FREQ_LOW;
  GPIO_InitStruct.Alternate = GPIO_AF14_LTDC;
  HAL_GPIO_Init(GPIOC, &GPIO_InitStruct);

  /*Configure GPIO pin : I2C3_SDA_Pin */
  GPIO_InitStruct.Pin = I2C3_SDA_Pin;
  GPIO_InitStruct.Mode = GPIO_MODE_AF_OD;
  GPIO_InitStruct.Pull = GPIO_PULLUP;
  GPIO_InitStruct.Speed = GPIO_SPEED_FREQ_LOW;
  GPIO_InitStruct.Alternate = GPIO_AF4_I2C3;
  HAL_GPIO_Init(I2C3_SDA_GPIO_Port, &GPIO_InitStruct);

  /*Configure GPIO pin : I2C3_SCL_Pin */
  GPIO_InitStruct.Pin = I2C3_SCL_Pin;
  GPIO_InitStruct.Mode = GPIO_MODE_AF_OD;
  GPIO_InitStruct.Pull = GPIO_PULLUP;
  GPIO_InitStruct.Speed = GPIO_SPEED_FREQ_LOW;
  GPIO_InitStruct.Alternate = GPIO_AF4_I2C3;
  HAL_GPIO_Init(I2C3_SCL_GPIO_Port, &GPIO_InitStruct);

  /*Configure GPIO pins : STLINK_RX_Pin STLINK_TX_Pin */
  GPIO_InitStruct.Pin = STLINK_RX_Pin|STLINK_TX_Pin;
  GPIO_InitStruct.Mode = GPIO_MODE_AF_PP;
  GPIO_InitStruct.Pull = GPIO_NOPULL;
  GPIO_InitStruct.Speed = GPIO_SPEED_FREQ_VERY_HIGH;
  GPIO_InitStruct.Alternate = GPIO_AF7_USART1;
  HAL_GPIO_Init(GPIOA, &GPIO_InitStruct);

  /*Configure GPIO pin : G7_Pin */
  GPIO_InitStruct.Pin = G7_Pin;
  GPIO_InitStruct.Mode = GPIO_MODE_AF_PP;
  GPIO_InitStruct.Pull = GPIO_NOPULL;
  GPIO_InitStruct.Speed = GPIO_SPEED_FREQ_LOW;
  GPIO_InitStruct.Alternate = GPIO_AF14_LTDC;
  HAL_GPIO_Init(G7_GPIO_Port, &GPIO_InitStruct);

  /*Configure GPIO pins : G3_Pin B4_Pin */
  GPIO_InitStruct.Pin = G3_Pin|B4_Pin;
  GPIO_InitStruct.Mode = GPIO_MODE_AF_PP;
  GPIO_InitStruct.Pull = GPIO_NOPULL;
  GPIO_InitStruct.Speed = GPIO_SPEED_FREQ_LOW;
  GPIO_InitStruct.Alternate = GPIO_AF9_LTDC;
  HAL_GPIO_Init(GPIOG, &GPIO_InitStruct);

  /*Configure GPIO pins : LD3_Pin LD4_Pin */
  GPIO_InitStruct.Pin = LD3_Pin|LD4_Pin;
  GPIO_InitStruct.Mode = GPIO_MODE_OUTPUT_PP;
  GPIO_InitStruct.Pull = GPIO_NOPULL;
  GPIO_InitStruct.Speed = GPIO_SPEED_FREQ_LOW;
  HAL_GPIO_Init(GPIOG, &GPIO_InitStruct);

  /*Configure GPIO pins : SDCKE1_Pin SDNE1_Pin */
  GPIO_InitStruct.Pin = SDCKE1_Pin|SDNE1_Pin;
  GPIO_InitStruct.Mode = GPIO_MODE_AF_PP;
  GPIO_InitStruct.Pull = GPIO_NOPULL;
  GPIO_InitStruct.Speed = GPIO_SPEED_FREQ_VERY_HIGH;
  GPIO_InitStruct.Alternate = GPIO_AF12_FMC;
  HAL_GPIO_Init(GPIOB, &GPIO_InitStruct);

}

void Error_Handler(void)
{
  __disable_irq();
  while (1)
  {
  }
}

/************************ (C) COPYRIGHT STMicroelectronics *****END OF FILE****/
